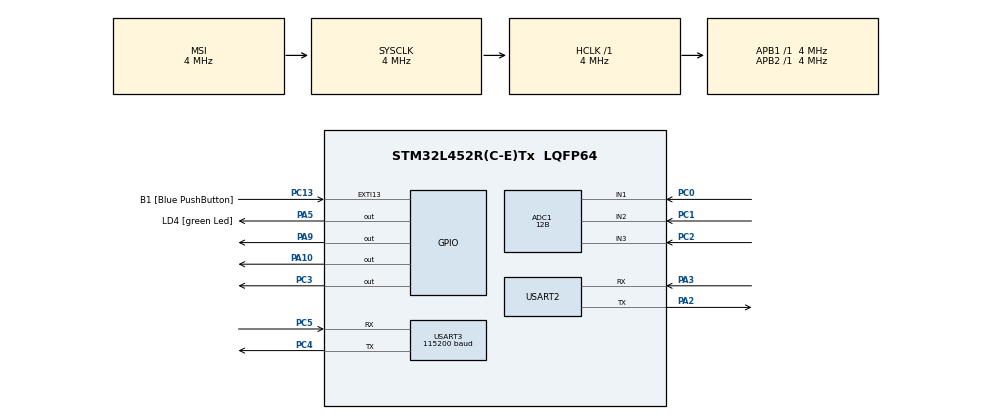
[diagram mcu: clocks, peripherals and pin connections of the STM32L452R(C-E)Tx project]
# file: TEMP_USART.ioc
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ADC1.Channel-0\#ChannelRegularConversion=ADC_CHANNEL_1
ADC1.Channel-1\#ChannelRegularConversion=ADC_CHANNEL_2
ADC1.Channel-2\#ChannelRegularConversion=ADC_CHANNEL_3
ADC1.ClockPrescaler=ADC_CLOCK_ASYNC_DIV2
ADC1.ContinuousConvMode=ENABLE
ADC1.DMAContinuousRequests=ENABLE
ADC1.DataAlign=ADC_DATAALIGN_RIGHT
ADC1.DiscontinuousConvMode=DISABLE
ADC1.EOCSelection=ADC_EOC_SINGLE_CONV
ADC1.EnableAnalogWatchDog1=false
ADC1.EnableAnalogWatchDog2=false
ADC1.EnableAnalogWatchDog3=false
ADC1.EnableInjectedConversion=DISABLE
ADC1.EnableRegularConversion=ENABLE
ADC1.ExternalTrigConv=ADC_SOFTWARE_START
ADC1.ExternalTrigConvEdge=ADC_EXTERNALTRIGCONVEDGE_NONE
ADC1.LowPowerAutoWait=DISABLE
ADC1.NbrOfConversion=3
ADC1.NbrOfConversionFlag=1
ADC1.OffsetNumber-0\#ChannelRegularConversion=ADC_OFFSET_NONE
ADC1.OffsetNumber-1\#ChannelRegularConversion=ADC_OFFSET_NONE
ADC1.OffsetNumber-2\#ChannelRegularConversion=ADC_OFFSET_NONE
ADC1.Overrun=ADC_OVR_DATA_PRESERVED
ADC1.OversamplingMode=DISABLE
ADC1.Rank-0\#ChannelRegularConversion=1
ADC1.Rank-1\#ChannelRegularConversion=2
ADC1.Rank-2\#ChannelRegularConversion=3
ADC1.Resolution=ADC_RESOLUTION_12B
ADC1.SamplingTime-0\#ChannelRegularConversion=ADC_SAMPLETIME_2CYCLES_5
ADC1.SamplingTime-1\#ChannelRegularConversion=ADC_SAMPLETIME_2CYCLES_5
ADC1.SamplingTime-2\#ChannelRegularConversion=ADC_SAMPLETIME_2CYCLES_5
ADC1.ScanConvMode=ADC_SCAN_ENABLE
ADC1.master=1
Dma.ADC1.0.Direction=DMA_PERIPH_TO_MEMORY
Dma.ADC1.0.Instance=DMA1_Channel1
Dma.ADC1.0.MemDataAlignment=DMA_MDATAALIGN_HALFWORD
Dma.ADC1.0.MemInc=DMA_MINC_ENABLE
Dma.ADC1.0.Mode=DMA_CIRCULAR
Dma.ADC1.0.PeriphDataAlignment=DMA_PDATAALIGN_HALFWORD
Dma.ADC1.0.PeriphInc=DMA_PINC_DISABLE
Dma.ADC1.0.Priority=DMA_PRIORITY_HIGH
Dma.Request0=ADC1
Mcu.Family=STM32L4
Mcu.Name=STM32L452R(C-E)Tx
Mcu.Package=LQFP64
NVIC.DMA1_Channel1_IRQn=true\:0\:0\:false\:false\:true
NVIC.PriorityGroup=NVIC_PRIORITYGROUP_4
PA10.GPIO_ModeDefaultOutputPP=GPIO_MODE_OUTPUT_OD
PA10.Signal=GPIO_Output
PA13\ (JTMS/SWDIO).GPIO_Label=TMS
PA13\ (JTMS/SWDIO).Signal=SYS_JTMS-SWDIO
PA14\ (JTCK/SWCLK).GPIO_Label=TCK
PA14\ (JTCK/SWCLK).Signal=SYS_JTCK-SWCLK
PA2.Mode=Asynchronous
PA2.Signal=USART2_TX
PA3.Mode=Asynchronous
PA3.Signal=USART2_RX
PA5.GPIO_Label=LD4 [green Led]
PA5.GPIO_ModeDefaultOutputPP=GPIO_MODE_OUTPUT_PP
PA5.GPIO_PuPd=GPIO_NOPULL
PA5.GPIO_Speed=GPIO_SPEED_FREQ_LOW
PA5.Signal=GPIO_Output
PA9.GPIO_ModeDefaultOutputPP=GPIO_MODE_OUTPUT_OD
PA9.GPIO_PuPd=GPIO_NOPULL
PA9.Signal=GPIO_Output
PB3\ (JTDO/TRACESWO).GPIO_Label=SWO
PB3\ (JTDO/TRACESWO).Signal=SYS_JTDO-SWO
PC0.Signal=ADCx_IN1
PC1.Signal=ADCx_IN2
PC13.GPIO_Label=B1 [Blue PushButton]
PC13.GPIO_ModeDefaultEXTI=GPIO_MODE_IT_FALLING
PC13.GPIO_PuPd=GPIO_NOPULL
PC13.Signal=GPXTI13
PC14-OSC32_IN\ (PC14).Signal=RCC_OSC32_IN
PC15-OSC32_OUT\ (PC15).Signal=RCC_OSC32_OUT
PC2.Signal=ADCx_IN3
PC3.Signal=GPIO_Output
PC4.Mode=Asynchronous
PC4.Signal=USART3_TX
PC5.Mode=Asynchronous
PC5.Signal=USART3_RX
PH0-OSC_IN\ (PH0).Signal=RCC_OSC_IN
PH1-OSC_OUT\ (PH1).Signal=RCC_OSC_OUT
ProjectManager.HeapSize=0x200
ProjectManager.StackSize=0x400
ProjectManager.TargetToolchain=MDK-ARM V5
RCC.ADCCLockSelection=RCC_ADCCLKSOURCE_SYSCLK
RCC.ADCFreq_Value=4000000
RCC.AHBFreq_Value=4000000
RCC.APB1Freq_Value=4000000
RCC.APB1TimFreq_Value=4000000
RCC.APB2Freq_Value=4000000
RCC.APB2TimFreq_Value=4000000
RCC.CortexFreq_Value=4000000
RCC.HCLKFreq_Value=4000000
RCC.HSE_VALUE=8000000
RCC.HSI48_VALUE=48000000
RCC.HSI_VALUE=16000000
RCC.LSE_VALUE=32768
RCC.MSI_VALUE=4000000
RCC.PLLN=10
RCC.PLLSourceVirtual=RCC_PLLSOURCE_HSI
RCC.PREFETCH_ENABLE=1
RCC.SYSCLKFreq_VALUE=4000000
RCC.USBFreq_Value=64000000
RCC.VCOOutputFreq_Value=160000000
SH.ADCx_IN1.0=ADC1_IN1,IN1-Single-Ended
SH.ADCx_IN2.0=ADC1_IN2,IN2-Single-Ended
SH.ADCx_IN3.0=ADC1_IN3,IN3-Single-Ended
USART2.VirtualMode-Asynchronous=VM_ASYNC
USART2.WordLength=WORDLENGTH_8B
USART3.BaudRate=115200
USART3.VirtualMode-Asynchronous=VM_ASYNC
USART3.WordLength=WORDLENGTH_8B
board=NUCLEO-L452RE

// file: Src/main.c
/**
  ******************************************************************************
  * File Name          : main.c
  * Description        : Main program body
  ******************************************************************************
  ** This notice applies to any and all portions of this file
  * that are not between comment pairs USER CODE BEGIN and
  * USER CODE END. Other portions of this file, whether
  * inserted by the user or by software development tools
  * are owned by their respective copyright owners.
  *
  * COPYRIGHT(c) 2017 STMicroelectronics
  *
  * Redistribution and use in source and binary forms, with or without modification,
  * are permitted provided that the following conditions are met:
  *   1. Redistributions of source code must retain the above copyright notice,
  *      this list of conditions and the following disclaimer.
  *   2. Redistributions in binary form must reproduce the above copyright notice,
  *      this list of conditions and the following disclaimer in the documentation
  *      and/or other materials provided with the distribution.
  *   3. Neither the name of STMicroelectronics nor the names of its contributors
  *      may be used to endorse or promote products derived from this software
  *      without specific prior written permission.
  *
  * THIS SOFTWARE IS PROVIDED BY THE COPYRIGHT HOLDERS AND CONTRIBUTORS "AS IS"
  * AND ANY EXPRESS OR IMPLIED WARRANTIES, INCLUDING, BUT NOT LIMITED TO, THE
  * IMPLIED WARRANTIES OF MERCHANTABILITY AND FITNESS FOR A PARTICULAR PURPOSE ARE
  * DISCLAIMED. IN NO EVENT SHALL THE COPYRIGHT HOLDER OR CONTRIBUTORS BE LIABLE
  * FOR ANY DIRECT, INDIRECT, INCIDENTAL, SPECIAL, EXEMPLARY, OR CONSEQUENTIAL
  * DAMAGES (INCLUDING, BUT NOT LIMITED TO, PROCUREMENT OF SUBSTITUTE GOODS OR
  * SERVICES; LOSS OF USE, DATA, OR PROFITS; OR BUSINESS INTERRUPTION) HOWEVER
  * CAUSED AND ON ANY THEORY OF LIABILITY, WHETHER IN CONTRACT, STRICT LIABILITY,
  * OR TORT (INCLUDING NEGLIGENCE OR OTHERWISE) ARISING IN ANY WAY OUT OF THE USE
  * OF THIS SOFTWARE, EVEN IF ADVISED OF THE POSSIBILITY OF SUCH DAMAGE.
  *
  ******************************************************************************
  */
#include "main.h"
#include "stm32l4xx_hal.h"

/* USER CODE BEGIN Includes */
#include "ADT7420.h"
#include "Communication.h"
#include "string.h"
#include "stdlib.h"
/* USER CODE END Includes */

ADC_HandleTypeDef hadc1;
DMA_HandleTypeDef hdma_adc1;

UART_HandleTypeDef huart2;
UART_HandleTypeDef huart3;

/* USER CODE BEGIN PV */
/* Private variables ---------------------------------------------------------*/

/* USER CODE END PV */

void SystemClock_Config(void);
static void MX_GPIO_Init(void);
static void MX_DMA_Init(void);
static void MX_USART3_UART_Init(void);
static void MX_ADC1_Init(void);
static void MX_USART2_UART_Init(void);

/* USER CODE BEGIN PFP */
/* Private function prototypes -----------------------------------------------*/

/* USER CODE END PFP */

/* USER CODE BEGIN 0 */

__IO uint16_t uhADCxConvertedValue[3];

/* Buffer used for transmission */
char s[3];
char Temp[300];
char Temp1[300];
char aTxBuffer[300];
char buffer[100];

/*************  本地变量声明	**************/
#define Buf2_Max 600					  //串口2缓存长度
char Uart2_Buf[Buf2_Max];
uint8_t First_Int = 0;
double x;
double y;
double z;
/*************	本地函数声明	**************/
void CLR_Buf1(void);
void CLR_Buf2(void);
void CLR_Buf3(void);
void CLR_Buf4(void);
void CLR_Buf5(void);
void Set_ATE0(void);
void Set_ATE1(void);
uint8_t Find(char *a);
void UART2_SendString(char* s);
void Second_AT_Command(char *b, char *a, uint8_t wait_time);
void NBSet_Init(void);
void Wait_CSQ(void);
void Wait_CEREG(void);
void Connect_Server(void);
void USART2_Receive(void);
void Second_1A_AT(char *b, char *a, uint8_t wait_time);
void HAL_ADC_ConvCpltCallback(ADC_HandleTypeDef* AdcHandle);
/* USER CODE END 0 */

int main(void)
{

    /* MCU Configuration----------------------------------------------------------*/

    /* Reset of all peripherals, Initializes the Flash interface and the Systick. */
    HAL_Init();

    /* Configure the system clock */
    SystemClock_Config();

    /* Initialize all configured peripherals */
    MX_GPIO_Init();
    MX_DMA_Init();
    MX_USART3_UART_Init();
    MX_ADC1_Init();
    MX_USART2_UART_Init();

    /* USER CODE BEGIN 2 */
    HAL_GPIO_WritePin(GPIOC, GPIO_PIN_3, GPIO_PIN_SET);
    HAL_Delay(100);
    float temp[1];
    ADT7420_Init();
    HAL_ADCEx_Calibration_Start(&hadc1, ADC_SINGLE_ENDED);
    if(HAL_ADC_Init(&hadc1) != HAL_OK)
    {
        Error_Handler();
    }

    //若开启DMA中断的话，由于其请求频率太快，会阻塞其它的中断
    if (HAL_ADC_Start_DMA(&hadc1, (uint32_t*)uhADCxConvertedValue, 3) != HAL_OK)
    {
        Error_Handler();
    }

    NBSet_Init();

    /* USER CODE END 2 */

    /* Infinite loop */
    while (1)
    {

        /* USER CODE BEGIN 3 */
        HAL_GPIO_WritePin(GPIOA, LD4_Pin, GPIO_PIN_SET);
        //为温度传感器提供3.3V的电源
        HAL_GPIO_WritePin(GPIOC, GPIO_PIN_3, GPIO_PIN_SET);

        //获取三轴加速度值
        x = (((double)uhADCxConvertedValue[0] / 4096) * 3.3 - 1.6332) / 0.0065 - 1;
        y = (((double)uhADCxConvertedValue[1] / 4096) * 3.3 - 1.6332) / 0.0065;
        z = (((double)uhADCxConvertedValue[2] / 4096) * 3.3 - 1.6332) / 0.0065;

        //发送加速度信息给串口调试助手
        sprintf(buffer, "\nX axis value is %lfg\t", x);
        UART2_SendString(buffer);
        CLR_Buf2();
        sprintf(buffer, " Y axis value is %lfg\t", y);
        UART2_SendString(buffer);
        CLR_Buf2();
        sprintf(buffer, " Z axis value is %lfg\n", z);
        UART2_SendString(buffer);
        CLR_Buf2();

        //发送传感器数据给服务器
        ADT7420_GetTemperature(temp);
        sprintf(Temp, "Temperature:%5.3f", temp[0]);
        strcpy(aTxBuffer, "AT+NMGS=17,");
        for(int i = 0; i < 17; i++)
        {
            sprintf(s, "%x", Temp[i]);
            strcpy(aTxBuffer + 11 + i * 2, s);
        }
        UART2_SendString(aTxBuffer);
        UART2_SendLR();
        Second_AT_Command(aTxBuffer, "SENT", 3);
				HAL_Delay(1000);
        CLR_Buf4();
        CLR_Buf1();

        while(1)
        {
            CLR_Buf4();							//清除接收缓存区
            UART_SendString("AT+CSQ");				//发送AT+CSQ指令,查询信号强度
            UART_SendLR();
            HAL_UART_Receive(&huart3, (uint8_t*)Temp, 20, 4000);
            if(strstr(Temp, "+CSQ:") != NULL)	//如果不是+CSQ:99,99，并且收到+CSQ:代表有信号
            {
                strncpy(Temp1, Temp + 2, 7);
                break;
            }
            else
            {
                //Do Nothing
            }
        }
        strcpy(aTxBuffer, "AT+NMGS=7,");
        for(int i = 0; i < 7; i++)
        {
            sprintf(s, "%x", Temp1[i]);
            strcpy(aTxBuffer + 10 + i * 2, s);
        }
        UART2_SendString(Temp1);
        UART2_SendLR();
        UART2_SendString(aTxBuffer);
        UART2_SendLR();
        Second_AT_Command(aTxBuffer, "SENT", 3);
				HAL_Delay(1000);
        CLR_Buf5();
        CLR_Buf4();
        CLR_Buf1();

        sprintf(Temp, "x_axis:%8.3fg, y_axis:%8.3fg, z_axis:%8.3fg", x, y, z);
        strcpy(aTxBuffer, "AT+NMGS=52,");
        for(int j = 0; j < 52; j++)
        {
            sprintf(s, "%x", Temp[j]);
            strcpy(aTxBuffer + 11 + j * 2, s);
        }
        UART2_SendString(aTxBuffer);
        UART2_SendLR();
        Second_AT_Command(aTxBuffer, "SENT", 3);
        HAL_Delay(1000);
        CLR_Buf4();
        CLR_Buf1();

        HAL_GPIO_WritePin(GPIOA, LD4_Pin, GPIO_PIN_RESET);
        //重启一下温度传感器
        HAL_GPIO_WritePin(GPIOC, GPIO_PIN_3, GPIO_PIN_RESET);
        HAL_Delay(2000);
    }
    /* USER CODE END 3 */

}

/** System Clock Configuration
*/
void SystemClock_Config(void)
{

    RCC_OscInitTypeDef RCC_OscInitStruct;
    RCC_ClkInitTypeDef RCC_ClkInitStruct;
    RCC_PeriphCLKInitTypeDef PeriphClkInit;

    /**Initializes the CPU, AHB and APB busses clocks
    */
    RCC_OscInitStruct.OscillatorType = RCC_OSCILLATORTYPE_MSI;
    RCC_OscInitStruct.MSIState = RCC_MSI_ON;
    RCC_OscInitStruct.MSICalibrationValue = 0;
    RCC_OscInitStruct.MSIClockRange = RCC_MSIRANGE_6;
    RCC_OscInitStruct.PLL.PLLState = RCC_PLL_NONE;
    if (HAL_RCC_OscConfig(&RCC_OscInitStruct) != HAL_OK)
    {
        _Error_Handler(__FILE__, __LINE__);
    }

    /**Initializes the CPU, AHB and APB busses clocks
    */
    RCC_ClkInitStruct.ClockType = RCC_CLOCKTYPE_HCLK | RCC_CLOCKTYPE_SYSCLK
                                  | RCC_CLOCKTYPE_PCLK1 | RCC_CLOCKTYPE_PCLK2;
    RCC_ClkInitStruct.SYSCLKSource = RCC_SYSCLKSOURCE_MSI;
    RCC_ClkInitStruct.AHBCLKDivider = RCC_SYSCLK_DIV1;
    RCC_ClkInitStruct.APB1CLKDivider = RCC_HCLK_DIV1;
    RCC_ClkInitStruct.APB2CLKDivider = RCC_HCLK_DIV1;

    if (HAL_RCC_ClockConfig(&RCC_ClkInitStruct, FLASH_LATENCY_0) != HAL_OK)
    {
        _Error_Handler(__FILE__, __LINE__);
    }

    PeriphClkInit.PeriphClockSelection = RCC_PERIPHCLK_USART2 | RCC_PERIPHCLK_USART3
                                         | RCC_PERIPHCLK_ADC;
    PeriphClkInit.Usart2ClockSelection = RCC_USART2CLKSOURCE_PCLK1;
    PeriphClkInit.Usart3ClockSelection = RCC_USART3CLKSOURCE_PCLK1;
    PeriphClkInit.AdcClockSelection = RCC_ADCCLKSOURCE_SYSCLK;
    if (HAL_RCCEx_PeriphCLKConfig(&PeriphClkInit) != HAL_OK)
    {
        _Error_Handler(__FILE__, __LINE__);
    }

    /**Configure the main internal regulator output voltage
    */
    if (HAL_PWREx_ControlVoltageScaling(PWR_REGULATOR_VOLTAGE_SCALE1) != HAL_OK)
    {
        _Error_Handler(__FILE__, __LINE__);
    }

    /**Configure the Systick interrupt time
    */
    HAL_SYSTICK_Config(HAL_RCC_GetHCLKFreq() / 1000);

    /**Configure the Systick
    */
    HAL_SYSTICK_CLKSourceConfig(SYSTICK_CLKSOURCE_HCLK);

    /* SysTick_IRQn interrupt configuration */
    HAL_NVIC_SetPriority(SysTick_IRQn, 0, 0);
}

/* ADC1 init function */
static void MX_ADC1_Init(void)
{

    ADC_ChannelConfTypeDef sConfig;

    /**Common config
    */
    hadc1.Instance = ADC1;
    hadc1.Init.ClockPrescaler = ADC_CLOCK_ASYNC_DIV2;
    hadc1.Init.Resolution = ADC_RESOLUTION_12B;
    hadc1.Init.DataAlign = ADC_DATAALIGN_RIGHT;
    hadc1.Init.ScanConvMode = ADC_SCAN_ENABLE;
    hadc1.Init.EOCSelection = ADC_EOC_SINGLE_CONV;
    hadc1.Init.LowPowerAutoWait = DISABLE;
    hadc1.Init.ContinuousConvMode = ENABLE;
    hadc1.Init.NbrOfConversion = 3;
    hadc1.Init.DiscontinuousConvMode = DISABLE;
    hadc1.Init.NbrOfDiscConversion = 1;
    hadc1.Init.ExternalTrigConv = ADC_SOFTWARE_START;
    hadc1.Init.ExternalTrigConvEdge = ADC_EXTERNALTRIGCONVEDGE_NONE;
    hadc1.Init.DMAContinuousRequests = ENABLE;
    hadc1.Init.Overrun = ADC_OVR_DATA_PRESERVED;
    hadc1.Init.OversamplingMode = DISABLE;
    if (HAL_ADC_Init(&hadc1) != HAL_OK)
    {
        _Error_Handler(__FILE__, __LINE__);
    }

    /**Configure Regular Channel
    */
    sConfig.Channel = ADC_CHANNEL_1;
    sConfig.Rank = 1;
    sConfig.SamplingTime = ADC_SAMPLETIME_2CYCLES_5;
    sConfig.SingleDiff = ADC_SINGLE_ENDED;
    sConfig.OffsetNumber = ADC_OFFSET_NONE;
    sConfig.Offset = 0;
    if (HAL_ADC_ConfigChannel(&hadc1, &sConfig) != HAL_OK)
    {
        _Error_Handler(__FILE__, __LINE__);
    }

    /**Configure Regular Channel
    */
    sConfig.Channel = ADC_CHANNEL_2;
    sConfig.Rank = 2;
    if (HAL_ADC_ConfigChannel(&hadc1, &sConfig) != HAL_OK)
    {
        _Error_Handler(__FILE__, __LINE__);
    }

    /**Configure Regular Channel
    */
    sConfig.Channel = ADC_CHANNEL_3;
    sConfig.Rank = 3;
    if (HAL_ADC_ConfigChannel(&hadc1, &sConfig) != HAL_OK)
    {
        _Error_Handler(__FILE__, __LINE__);
    }

}

/* USART2 init function */
static void MX_USART2_UART_Init(void)
{

    huart2.Instance = USART2;
    huart2.Init.BaudRate = 9600;
    huart2.Init.WordLength = UART_WORDLENGTH_8B;
    huart2.Init.StopBits = UART_STOPBITS_1;
    huart2.Init.Parity = UART_PARITY_NONE;
    huart2.Init.Mode = UART_MODE_TX_RX;
    huart2.Init.HwFlowCtl = UART_HWCONTROL_NONE;
    huart2.Init.OverSampling = UART_OVERSAMPLING_16;
    huart2.Init.OneBitSampling = UART_ONE_BIT_SAMPLE_DISABLE;
    huart2.AdvancedInit.AdvFeatureInit = UART_ADVFEATURE_NO_INIT;
    if (HAL_UART_Init(&huart2) != HAL_OK)
    {
        _Error_Handler(__FILE__, __LINE__);
    }

}

/* USART3 init function */
static void MX_USART3_UART_Init(void)
{

    huart3.Instance = USART3;
    huart3.Init.BaudRate = 9600;
    huart3.Init.WordLength = UART_WORDLENGTH_8B;
    huart3.Init.StopBits = UART_STOPBITS_1;
    huart3.Init.Parity = UART_PARITY_NONE;
    huart3.Init.Mode = UART_MODE_TX_RX;
    huart3.Init.HwFlowCtl = UART_HWCONTROL_NONE;
    huart3.Init.OverSampling = UART_OVERSAMPLING_16;
    huart3.Init.OneBitSampling = UART_ONE_BIT_SAMPLE_DISABLE;
    huart3.AdvancedInit.AdvFeatureInit = UART_ADVFEATURE_NO_INIT;
    if (HAL_UART_Init(&huart3) != HAL_OK)
    {
        _Error_Handler(__FILE__, __LINE__);
    }

}

static void MX_DMA_Init(void)
{
    /* DMA controller clock enable */
    __HAL_RCC_DMA1_CLK_ENABLE();

    /* DMA interrupt init */
    /* DMA1_Channel1_IRQn interrupt configuration */
    //HAL_NVIC_SetPriority(DMA1_Channel1_IRQn, 0, 0);
    //HAL_NVIC_EnableIRQ(DMA1_Channel1_IRQn);

}

/** Configure pins as
        * Analog
        * Input
        * Output
        * EVENT_OUT
        * EXTI
*/
static void MX_GPIO_Init(void)
{

    GPIO_InitTypeDef GPIO_InitStruct;

    /* GPIO Ports Clock Enable */
    __HAL_RCC_GPIOC_CLK_ENABLE();
    __HAL_RCC_GPIOH_CLK_ENABLE();
    __HAL_RCC_GPIOA_CLK_ENABLE();
    __HAL_RCC_GPIOB_CLK_ENABLE();

    /*Configure GPIO pin Output Level */
    HAL_GPIO_WritePin(GPIOC, GPIO_PIN_3, GPIO_PIN_RESET);

    /*Configure GPIO pin Output Level */
    HAL_GPIO_WritePin(GPIOA, LD4_Pin | GPIO_PIN_9 | GPIO_PIN_10, GPIO_PIN_RESET);

    /*Configure GPIO pin : B1_Pin */
    GPIO_InitStruct.Pin = B1_Pin;
    GPIO_InitStruct.Mode = GPIO_MODE_IT_FALLING;
    GPIO_InitStruct.Pull = GPIO_NOPULL;
    HAL_GPIO_Init(B1_GPIO_Port, &GPIO_InitStruct);

    /*Configure GPIO pin : PC3 */
    GPIO_InitStruct.Pin = GPIO_PIN_3;
    GPIO_InitStruct.Mode = GPIO_MODE_OUTPUT_PP;
    GPIO_InitStruct.Pull = GPIO_NOPULL;
    GPIO_InitStruct.Speed = GPIO_SPEED_FREQ_LOW;
    HAL_GPIO_Init(GPIOC, &GPIO_InitStruct);

    /*Configure GPIO pin : LD4_Pin */
    GPIO_InitStruct.Pin = LD4_Pin;
    GPIO_InitStruct.Mode = GPIO_MODE_OUTPUT_PP;
    GPIO_InitStruct.Pull = GPIO_NOPULL;
    GPIO_InitStruct.Speed = GPIO_SPEED_FREQ_LOW;
    HAL_GPIO_Init(LD4_GPIO_Port, &GPIO_InitStruct);

    /*Configure GPIO pins : PA9 PA10 */
    GPIO_InitStruct.Pin = GPIO_PIN_9 | GPIO_PIN_10;
    GPIO_InitStruct.Mode = GPIO_MODE_OUTPUT_OD;
    GPIO_InitStruct.Pull = GPIO_NOPULL;
    GPIO_InitStruct.Speed = GPIO_SPEED_FREQ_LOW;
    HAL_GPIO_Init(GPIOA, &GPIO_InitStruct);

}

/* USER CODE BEGIN 4 */
/*******************************************************************************
* 函数名  : USART2_Receiver
* 描述    : 串口1接收程序
* 输入    : 无
* 返回    : 无
* 说明    :
*******************************************************************************/
void USART2_Receive(void)
{
    uint8_t Res = 0;
    int i;
    HAL_UART_Receive(&huart3, (uint8_t*)Uart2_Buf, 20, 5000);
    for(; i < 20; i++)
    {
        if(Uart2_Buf[i] == '\0')
        {
            break;
        }
        Res++;
    }
    Uart2_Buf[First_Int] = Res;  	  //将接收到的字符串存到缓存中
    First_Int = First_Int + Res;    //缓存指针向后移动
}

/*******************************************************************************
* 函数名 : Find
* 描述   : 判断缓存中是否含有指定的字符串
* 输入   :
* 输出   :
* 返回   : unsigned char:1 找到指定字符，0 未找到指定字符
* 注意   :
*******************************************************************************/

uint8_t Find(char *a)
{
    if(strstr(Uart2_Buf, a) != NULL)
        return 1;
    else
        return 0;
}

/*******************************************************************************
* 函数名 : Set_ATE0
* 描述   : 取消回显
* 输入   :
* 输出   :
* 返回   :
* 注意   :
*******************************************************************************/
void Set_ATE0(void)
{
    Second_AT_Command("ATE0", "OK", 3);								//取消回显
}

/*******************************************************************************
* 函数名 : Set_ATE0
* 描述   : 开启回显
* 输入   :
* 输出   :
* 返回   :
* 注意   :
*******************************************************************************/
void Set_ATE1(void)
{
    Second_AT_Command("ATE1", "OK", 3);								//取消回显
}

/*******************************************************************************
* 函数名 : CLR_Buf5
* 描述   :
* 输入   :
* 输出   :
* 返回   :
* 注意   :
*******************************************************************************/
void CLR_Buf5(void)
{
    int k;
    for(k = 0; k < 300; k++) //将缓存内容清零
    {
        Temp1[k] = 0x00;
    }
}

/*******************************************************************************
* 函数名 : CLR_Buf4
* 描述   :
* 输入   :
* 输出   :
* 返回   :
* 注意   :
*******************************************************************************/
void CLR_Buf4(void)
{
    int k;
    for(k = 0; k < 300; k++) //将缓存内容清零
    {
        Temp[k] = 0x00;
    }
}

/*******************************************************************************
* 函数名 : CLR_Buf3
* 描述   :
* 输入   :
* 输出   :
* 返回   :
* 注意   :
*******************************************************************************/
void CLR_Buf3(void)
{
    uint16_t k;
    for(k = 0; k < Buf2_Max; k++) //将缓存内容清零
    {
        Uart2_Buf[k] = 0x00;
    }
    First_Int = 0;              //接收字符串的起始存储位置
}

/*******************************************************************************
* 函数名 : CLR_Buf2
* 描述   :
* 输入   :
* 输出   :
* 返回   :
* 注意   :
*******************************************************************************/
void CLR_Buf2(void)
{
    int k;
    for(k = 0; k < 100; k++) //将缓存内容清零
    {
        buffer[k] = 0x00;
    }
}

/*******************************************************************************
* 函数名 : CLR_Buf1
* 描述   :
* 输入   :
* 输出   :
* 返回   :
* 注意   :
*******************************************************************************/
void CLR_Buf1(void)
{
    int k;
    for(k = 0; k < 300; k++) //将缓存内容清零
    {
        aTxBuffer[k] = 0x00;
    }
}
/*******************************************************************************
* 函数名 : Second_AT_Command
* 描述   : 发送AT指令函数
* 输入   : 发送数据的指针、发送等待时间(单位：S)
* 输出   :
* 返回   :
* 注意   :
*******************************************************************************/

void Second_AT_Command(char *b, char *a, uint8_t wait_time)
{
    uint8_t i;
    char *c;
    c = b;
    CLR_Buf3();
    i = 0;
    while(i == 0)
    {
        if(!Find(a))
        {
            b = c;
            UART_SendString(b);
            UART_SendLR();
            HAL_UART_Receive(&huart3, (uint8_t*)Uart2_Buf, 30, 3000);
            HAL_Delay(wait_time * 1000);
        }
        else
        {
            i = 1;
        }
    }
    CLR_Buf3();
}

/*******************************************************************************
* 函数名 : Second_AT_Command
* 描述   : 发送AT指令函数
* 输入   : 发送数据的指针、发送等待时间(单位：S)
* 输出   :
* 返回   :
* 注意   :
*******************************************************************************/

void Second_1A_AT(char *b, char *a, uint8_t wait_time)
{
    uint8_t i;
    char *c;
    c = b;
    CLR_Buf3();
    i = 0;
    while(i == 0)
    {
        if(!Find(a))
        {
            b = c;
            UART_SendString(b);
            UART_SendLR();
            HAL_UART_Receive(&huart3, (uint8_t*)Uart2_Buf, 600, 3000);
            HAL_Delay(wait_time * 1000);
        }
        else
        {
            i = 1;
        }
    }
    CLR_Buf3();
}

/*******************************************************************************
* 函数名  : UART_SendString
* 描述    : USART3发送字符串
* 输入    : *s字符串指针
* 输出    : 无
* 返回    : 无
* 说明    : 无
*******************************************************************************/
void UART_SendString(char* s)
{
    while(*s)
    {
        if(HAL_UART_Transmit(&huart3, (uint8_t*)s++, 1, 5000) != HAL_OK) //发送当前字符
        {
            Error_Handler();
        }
    }
}

/*******************************************************************************
* 函数名  : UART2_SendString
* 描述    : USART2发送字符串
* 输入    : *s字符串指针
* 输出    : 无
* 返回    : 无
* 说明    : 无
*******************************************************************************/
void UART2_SendString(char* s)
{
    while(*s)
    {
        if(HAL_UART_Transmit(&huart2, (uint8_t*)s++, 1, 100) != HAL_OK) //发送当前字符
        {
            Error_Handler();
        }
    }
}

/*******************************************************************************
* 函数名 : Wait_CSQ
* 描述   : 等待模块收到信号
* 输入   :
* 输出   :
* 返回   :
* 注意   :
*******************************************************************************/
void Wait_CSQ(void)
{
    while(1)
    {
        CLR_Buf3();							//清除接收缓存区
        UART_SendString("AT+CSQ");				//发送AT+CSQ指令,查询信号强度
        UART_SendLR();
        HAL_UART_Receive(&huart3, (uint8_t*)Uart2_Buf, 20, 4000);
        if(strstr(Uart2_Buf, "+CSQ:99,99") != NULL)	//返回99代表没有信号
        {
            continue;
        }
        else if(strstr(Uart2_Buf, "+CSQ:") != NULL)	//如果不是+CSQ:99,99，并且收到+CSQ:代表有信号
        {
            break;
        }
        else
        {
            //Do Nothing
        }
    }

}

/*******************************************************************************
* 函数名 : Wait_CREG
* 描述   : 等待模块注册成功
* 输入   :
* 输出   :
* 返回   :
* 注意   :
*******************************************************************************/
void Wait_CEREG(void)
{
    uint8_t i = 0;
    int k;
    //CLR_Buf3();
    /*1
    while(i == 0)
    {
    	  CLR_Buf2();
    	  UART_SendString("AT+CREG?");
      UART_SendLR();
    	  HAL_UART_Receive(&huart3, (uint8_t*)Uart2_Buf, 20, 5000);
    	  HAL_Delay(2000);
        for(k=0;k<Buf2_Max;k++)
    	{
    		   if(Uart2_Buf[k] == ':')
    		   {
    			    if((Uart2_Buf[k+4] == '1')||(Uart2_Buf[k+4] == '5'))
    			    {
    				     i = 1;
    			       break;
    			    }
    		   }
    	  }
    	//UART_SendString("Register.....\r\n");
    }
    */

    /*2
    while(i == 0)
    {
    	  CLR_Buf3();
    	  UART_SendString("AT+CEREG?");
      UART_SendLR();
    	  HAL_UART_Receive(&huart3, (uint8_t*)Uart2_Buf, 20, 5000);
        for(k=0;k<Buf2_Max;k++)
    	{
    			    if((Uart2_Buf[k] == '1')||(Uart2_Buf[k] == '5'))
    			    {
    				     i = 1;
    			       break;
    			    }
    	  }
    	//UART_SendString("Register.....\r\n");
    }
    */

    while(i == 0)
    {
        CLR_Buf3();
        UART_SendString("AT+CEREG?");			//发送AT+CEREG?指令,查询是否注册到网络上
        UART_SendLR();
        HAL_UART_Receive(&huart3, (uint8_t*)Uart2_Buf, 20, 4000);
        HAL_Delay(1000);
        for(k = 0; k < Buf2_Max; k++)
        {
            if((Uart2_Buf[k] == '1') || (Uart2_Buf[k] == '5'))
            {
                i = 1;
                break;
            }
        }
    }
}

/*******************************************************************************
* 函数名 : Connect_Server
* 描述   : GPRS连接服务器函数
* 输入   :
* 输出   :
* 返回   :
* 注意   :
*******************************************************************************/
void NBSet_Init(void)
{
    CLR_Buf3();
    UART2_SendString("Begin\r\n");
    //Second_AT_Command("AT","OK",1);
    //Second_AT_Command("AT+CFUN=0","OK",1);
    //Second_AT_Command("AT+NCDP=120.76.136.124","OK",1);
    //UART_SendString("AT+NRB");
    //HAL_UART_Receive(&huart3, (uint8_t*)Uart2_Buf, 20, 2000);
    //HAL_UART_Receive(&huart3, (uint8_t*)Uart2_Buf, 20, 4000);
    //HAL_Delay(10000);
    Second_AT_Command("AT", "OK", 1);
    Wait_CSQ();
    Wait_CEREG();
    UART2_SendString("Register Scucess\n");
    Second_AT_Command("AT+NSMI=1", "OK", 1);
    Second_AT_Command("AT+NNMI=1", "OK", 1);
    UART2_SendString("NB-IoT Configure successfully!");
    CLR_Buf3();
}

void HAL_ADC_ConvCpltCallback(ADC_HandleTypeDef* AdcHandle)
{

}

/* USER CODE END 4 */

void _Error_Handler(char * file, int line)
{
    while(1)
    {
    }
}

/************************ (C) COPYRIGHT STMicroelectronics *****END OF FILE****/
